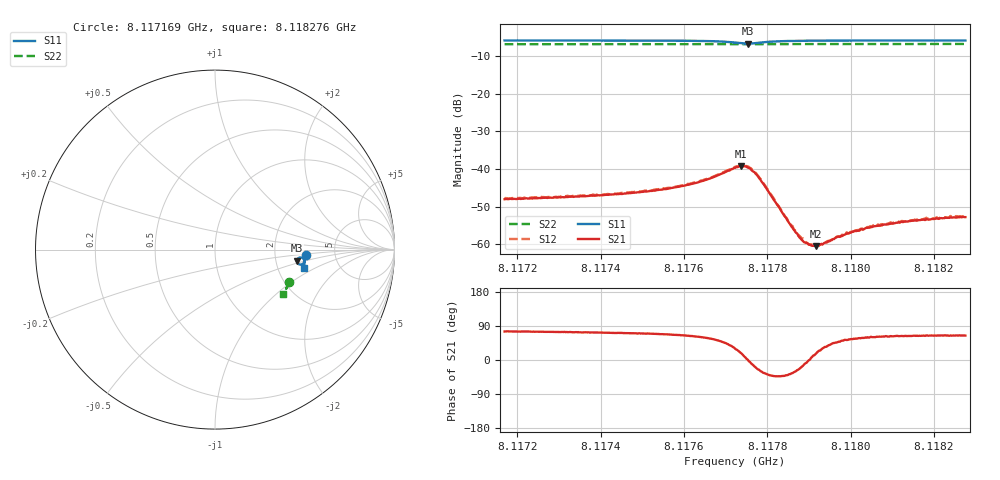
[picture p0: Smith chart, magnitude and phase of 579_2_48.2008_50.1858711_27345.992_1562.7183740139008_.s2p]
#  HZ  S  RI  R  50.00
! Rohde & Schwarz Vector Network Analyzer
! Rohde-Schwarz,ZNB20-2Port,1311601062101988,3.16
! Created: UTC 3/20/2024, 12:02:01 PM
! freq[Hz]  re:S11  im:S11  re:S21  im:S21  re:S12  im:S12  re:S22  im:S22
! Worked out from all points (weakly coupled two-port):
!   401 points, 8.117169 GHz to 8.118276 GHz, reference 50 ohm
!   highest |S21| = -39.22 dB at 8.117736 GHz (marker M1); lowest = -60.5 dB at 8.117916 GHz (marker M2)
!   lowest |S11| = -6.7 dB at 8.117753 GHz (marker M3), VSWR 2.71, Z = 132 - j20.4 ohm
!   |S11| at or under -10 dB: nowhere
!   |S22| runs from -6.9 to -6.8 dB; largest |S21 - S12| = 0.00046
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8.1171694e9  0.5059 -0.0284  0.00101 0.00383  0.00104 0.00394  0.4148 -0.1797
8.1173547e9  0.5042 -0.0438  0.00129 0.00414  0.00134 0.0042  0.4098 -0.1918
8.1174405e9  0.5031 -0.0515  0.00146 0.00438  0.00152 0.00446  0.4073 -0.1973
8.1175401e9  0.5006 -0.0615  0.00193 0.00491  0.00201 0.00501  0.4045 -0.2037
8.1176369e9  0.4947 -0.074  0.00325 0.00588  0.00333 0.00597  0.4015 -0.2101
8.1176701e9  0.4892 -0.0795  0.00444 0.00634  0.00458 0.00643  0.4 -0.2121
8.1177226e9  0.4676 -0.0818  0.00888 0.00516  0.00917 0.0054  0.3976 -0.2152
8.1177365e9  0.4598 -0.0753  0.0104 0.00345  0.0104 0.00349  0.3969 -0.2155
8.1177531e9  0.4563 -0.0612  0.0105 0.000163  0.0108 5.96e-05  0.3965 -0.2161
8.1177669e9  0.4615 -0.0502  0.00894 -0.00225  0.00916 -0.00237  0.3964 -0.2163
8.1177807e9  0.4707 -0.0445  0.00678 -0.0033  0.00688 -0.00356  0.3966 -0.2171
8.1178471e9  0.495 -0.055  0.00163 -0.00138  0.00169 -0.00143  0.3954 -0.2216
8.1178803e9  0.4978 -0.0614  0.00112 -0.000405  0.00117 -0.000419  0.3944 -0.224
8.1178969e9  0.4985 -0.0642  0.00103 -6.89e-05  0.00103 -8.94e-05  0.3939 -0.225
8.117908e9  0.4987 -0.066  0.000943 0.000141  0.000989 0.000116  0.3935 -0.2258
8.1179163e9  0.4987 -0.0671  0.000909 0.000258  0.000935 0.000251  0.3932 -0.2263
8.1179273e9  0.499 -0.0687  0.000902 0.000421  0.000894 0.000454  0.3929 -0.2271
8.1180048e9  0.4989 -0.0779  0.00085 0.00121  0.000828 0.00122  0.3904 -0.232
8.1180518e9  0.4986 -0.0825  0.000841 0.00147  0.000829 0.00151  0.3888 -0.2349
8.1180933e9  0.4981 -0.0864  0.000872 0.00164  0.000865 0.0017  0.3875 -0.2375
8.1181818e9  0.4968 -0.0941  0.000908 0.00195  0.000985 0.00202  0.3843 -0.2431
8.1182759e9  0.4953 -0.1018  0.000987 0.00207  0.00105 0.00211  0.381 -0.2488
